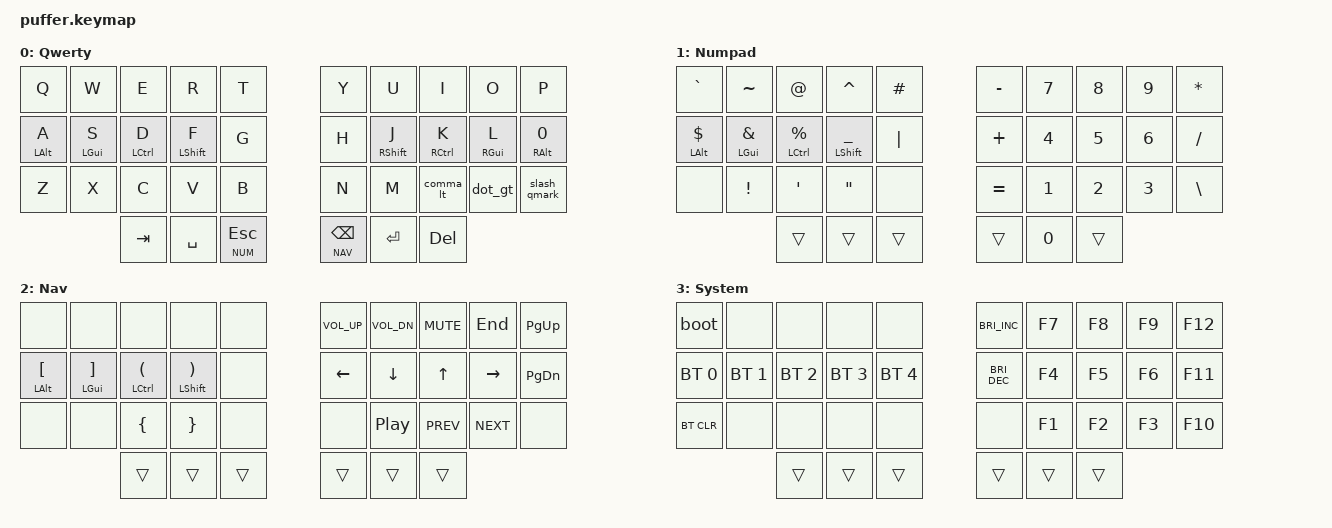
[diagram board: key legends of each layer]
/*
 * https://github.com/zmkfirmware/zmk/blob/main/app/include/dt-bindings/zmk/keys.h
 */

#include "zmk-helpers/helper.h"
#include "zmk-helpers/key-labels/36.h"

#include <behaviors.dtsi>
#include <dt-bindings/zmk/keys.h>
#include <dt-bindings/zmk/bt.h>

#define DEF 0
#define NUM 1
#define NAV 2
#define SYS 3

#define XXX &none
#define ___ &trans

#define QUICK_TAP_MS 175

#define KEYS_L LT0 LT1 LT2 LT3 LT4 LM0 LM1 LM2 LM3 LM4 LB0 LB1 LB2 LB3 LB4  /* left hand  */
#define KEYS_R RT0 RT1 RT2 RT3 RT4 RM0 RM1 RM2 RM3 RM4 RB0 RB1 RB2 RB3 RB4  /* right hand */
#define THUMBS LH2 LH1 LH0 RH0 RH1 RH2                                      /* thumbs     */

// ---------- SETTINGS ----------

&sk {  // sticky-key config
    release-after-ms = <1000>; // release after 1s
    quick-release;             // no double capitalization when rolling keys
};

&sl {  // sticky-layer config
    ignore-modifiers;          // allow chording sticky mods & layers
};

&lt {  // layer-tap config
    flavor = "balanced";
    tapping-term-ms = <200>;
    quick-tap-ms = <QUICK_TAP_MS>;
};

// ----------- COMBOS -----------
#define COMBO_TERM_FAST 25
#define COMBO_TERM_SLOW 50

// ----------- KEYMAP -----------

// reuse basic mod-morph scheme
#define MAKE_SIMPLE_MORPH(NAME, MOD, BINDING1, BINDING2) \
    ZMK_MOD_MORPH(NAME, \
        mods = <(MOD_L ## MOD|MOD_R ## MOD)>; \
        bindings = <BINDING1>, <BINDING2>; \
    )

// tap: space | shift + tap: tab | hold: Num layer
//MAKE_SIMPLE_MORPH(spc_tab_num, SFT, &lt NUM SPACE, &kp TAB)

// tap: semicolon | shift + tap: colon
MAKE_SIMPLE_MORPH(semi_colon, SFT, &kp SEMI, &kp COLON)

// tap: slash | shift + tap: question mark
MAKE_SIMPLE_MORPH(slash_qmark, SFT, &kp SLASH, &kp QMARK)

// tap: comma | shift + tap: double quotes
MAKE_SIMPLE_MORPH(comma_lt, SFT, &kp COMMA, &kp LT)

// tap: dot | shift + tap: single quotes
MAKE_SIMPLE_MORPH(dot_gt, SFT, &kp DOT, &kp GT)

// tap: plus | shift + tap: equal
MAKE_SIMPLE_MORPH(plus_equal, SFT, &kp PLUS, &kp EQUAL)

// tap: ESC | shift + tap: tilde
MAKE_SIMPLE_MORPH(esc_tilde, SFT, &kp ESC, &kp TILDE)

// tap: DEL | ctrl + tap: caps word
//MAKE_SIMPLE_MORPH(del_caps, CTL, &kp DEL, &caps_word)

// For mod tap
#define MAKE_MOD_TAP(NAME, BINDING1, BINDING2) \
    ZMK_HOLD_TAP(NAME, \
        flavor = "hold-preferred"; \
        tapping-term-ms = <200>; \
        bindings = <BINDING1>, <BINDING2>; \
    )

//MAKE_MOD_TAP(mod_esctil, &kp , &esc_tilde)
//MAKE_MOD_TAP(mod_delcaps, &kp, &del_caps)

// double-tap to enter bootloader
ZMK_TAP_DANCE(boot,
    bindings = <&none>, <&bootloader>;
)

// Cross-hand only home row mods
#define MAKE_HRM(NAME, HOLD, TAP, TRIGGER_POS) \
    ZMK_HOLD_TAP(NAME, \
        flavor = "balanced"; \
        tapping-term-ms = <280>; \
        quick-tap-ms = <QUICK_TAP_MS>; \
        require-prior-idle-ms = <150>; \
        bindings = <HOLD>, <TAP>; \
        hold-trigger-key-positions = <TRIGGER_POS>; \
        hold-trigger-on-release; \
    )
MAKE_HRM(hml, &kp, &kp, KEYS_R THUMBS)  // left-hand HRMs
MAKE_HRM(hmr, &kp, &kp, KEYS_L THUMBS)  // right-hand HRMs
MAKE_HRM(hmr_sc, &kp, &semi_colon, KEYS_L THUMBS)  

ZMK_CONDITIONAL_LAYER(sys_condition, NUM NAV, SYS)


ZMK_LAYER(Qwerty,
// ╭─────────────┬─────────────┬─────────────┬─────────────┬─────────────╮   ╭─────────────┬─────────────┬─────────────┬─────────────┬─────────────╮
      &kp Q           &kp W         &kp E          &kp R        &kp T             &kp Y         &kp U         &kp I         &kp O         &kp P
// ├─────────────┼─────────────┼─────────────┼─────────────┼─────────────┤   ├─────────────┼─────────────┼─────────────┼─────────────┼─────────────┤
     &hml LALT A   &hml LGUI S  &hml LCTRL D   &hml LSHFT F     &kp G             &kp H     &hmr RSHFT J  &hmr RCTRL K   &hmr RGUI L   &hmr_sc RALT 0
// ├─────────────┼─────────────┼─────────────┼─────────────┼─────────────┤   ├─────────────┼─────────────┼─────────────┼─────────────┼─────────────┤
        &kp Z        &kp X         &kp C         &kp V         &kp B             &kp N         &kp M       &comma_lt      &dot_gt      &slash_qmark
// ╰─────────────┴─────────────┼─────────────┼─────────────┼─────────────┤   ├─────────────┼─────────────┼─────────────┼─────────────┴─────────────╯
                                    &kp TAB     &kp SPACE    &lt NUM ESC      &lt NAV BSPC   &kp ENTER      &kp DEL
//                             ╰─────────────┴─────────────┴─────────────╯   ╰─────────────┴─────────────┴─────────────╯
)

ZMK_LAYER(Numpad,
// ╭─────────────┬─────────────┬─────────────┬─────────────┬─────────────╮   ╭─────────────┬─────────────┬─────────────┬─────────────┬─────────────╮
      &kp GRAVE      &kp TILDE     &kp AT       &kp CARET     &kp HASH          &kp MINUS       &kp N7        &kp N8        &kp N9       &kp STAR
// ├─────────────┼─────────────┼─────────────┼─────────────┼─────────────┤   ├─────────────┼─────────────┼─────────────┼─────────────┼─────────────┤
  &hml LALT DLLR &hml LGUI AMPS &hml LCTRL PRCNT &hml LSHFT UNDER &kp PIPE       &kp PLUS       &kp N4        &kp N5        &kp N6       &kp SLASH
// ├─────────────┼─────────────┼─────────────┼─────────────┼─────────────┤   ├─────────────┼─────────────┼─────────────┼─────────────┼─────────────┤
      XXX        &kp EXCL  &kp SINGLE_QUOTE &kp DOUBLE_QUOTES XXX      &kp EQUAL      &kp N1        &kp N2        &kp N3     &kp BACKSLASH
// ╰─────────────┴─────────────┼─────────────┼─────────────┼─────────────┤   ├─────────────┼─────────────┼─────────────┼─────────────┴─────────────╯
                                     ___          ___         ___               ___         &kp N0          ___
//                             ╰─────────────┴─────────────┴─────────────╯   ╰─────────────┴─────────────┴─────────────╯
)

ZMK_LAYER(Nav,
// ╭─────────────┬─────────────┬─────────────┬─────────────┬─────────────╮   ╭─────────────┬─────────────┬─────────────┬─────────────┬─────────────╮
       XXX          XXX             XXX            XXX          XXX            &kp C_VOL_UP    &kp C_VOL_DN   &kp K_MUTE       &kp END      &kp PG_UP
// ├─────────────┼─────────────┼─────────────┼─────────────┼─────────────┤   ├─────────────┼─────────────┼─────────────┼─────────────┼─────────────┤
   &hml LALT LBKT &hml LGUI RBKT &hml LCTRL LPAR &hml LSHFT RPAR   XXX        &kp LEFT    &kp DOWN     &kp UP     &kp RIGHT    &kp PG_DN
// ├─────────────┼─────────────┼─────────────┼─────────────┼─────────────┤   ├─────────────┼─────────────┼─────────────┼─────────────┼─────────────┤
       XXX          XXX          &kp LBRC        &kp RBRC          XXX            XXX      &kp C_PP      &kp C_PREV    &kp C_NEXT      XXX          
// ╰─────────────┴─────────────┼─────────────┼─────────────┼─────────────┤   ├─────────────┼─────────────┼─────────────┼─────────────┴─────────────╯
                                     ___           ___          ___               ___           ___           ___
//                             ╰─────────────┴─────────────┴─────────────╯   ╰─────────────┴─────────────┴─────────────╯
)

ZMK_LAYER(System,
// ╭─────────────┬─────────────┬─────────────┬─────────────┬─────────────╮   ╭─────────────┬─────────────┬─────────────┬─────────────┬─────────────╮
        &boot          XXX          XXX            XXX           XXX          &kp C_BRI_INC    &kp F7         &kp F8       &kp F9        &kp F12
// ├─────────────┼─────────────┼─────────────┼─────────────┼─────────────┤   ├─────────────┼─────────────┼─────────────┼─────────────┼─────────────┤
     &bt BT_SEL 0  &bt BT_SEL 1  &bt BT_SEL 2  &bt BT_SEL 3  &bt BT_SEL 4     &kp C_BRI_DEC    &kp F4         &kp F5       &kp F6        &kp F11
// ├─────────────┼─────────────┼─────────────┼─────────────┼─────────────┤   ├─────────────┼─────────────┼─────────────┼─────────────┼─────────────┤
     &bt BT_CLR        XXX          XXX            XXX           XXX               XXX         &kp F1         &kp F2       &kp F3      &kp F10
// ╰─────────────┴─────────────┼─────────────┼─────────────┼─────────────┤   ├─────────────┼─────────────┼─────────────┼─────────────┴─────────────╯
                                     ___           ___           ___               ___           ___           ___
//                             ╰─────────────┴─────────────┴─────────────╯   ╰─────────────┴─────────────┴─────────────╯
)

// vim: filetype=c
